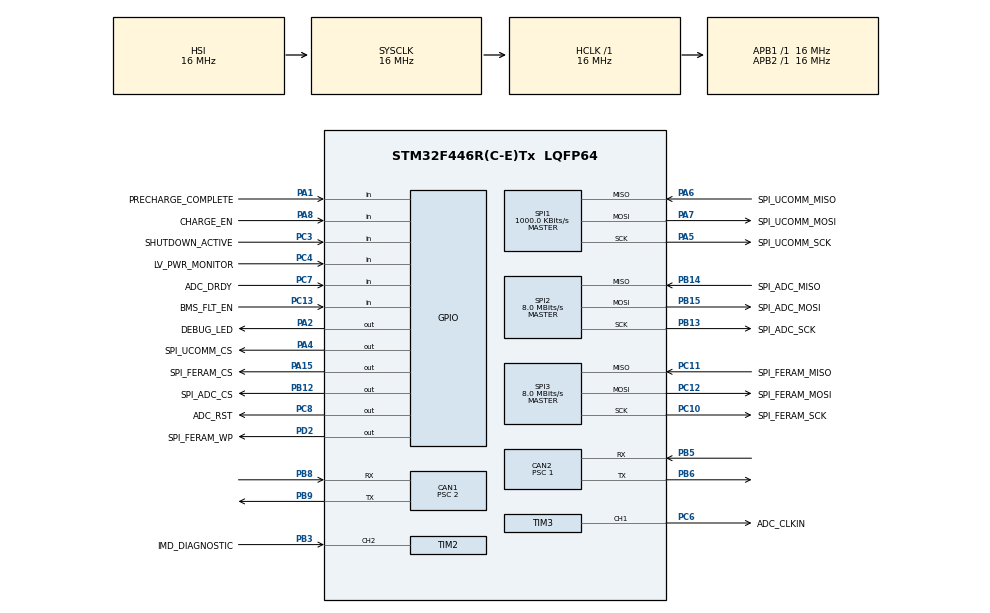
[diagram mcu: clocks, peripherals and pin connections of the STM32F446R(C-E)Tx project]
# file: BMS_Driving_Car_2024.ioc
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CAN1.ABOM=ENABLE
CAN1.BS1=CAN_BS1_13TQ
CAN1.BS2=CAN_BS2_2TQ
CAN1.CalculateBaudRate=500000
CAN1.CalculateTimeBit=2000
CAN1.CalculateTimeQuantum=125.0
CAN1.Prescaler=2
CAN2.ABOM=ENABLE
CAN2.BS1=CAN_BS1_13TQ
CAN2.BS2=CAN_BS2_2TQ
CAN2.CalculateBaudRate=1000000
CAN2.CalculateTimeBit=1000
CAN2.CalculateTimeQuantum=62.5
CAN2.Prescaler=1
Mcu.Family=STM32F4
Mcu.Name=STM32F446R(C-E)Tx
Mcu.Package=LQFP64
NVIC.PriorityGroup=NVIC_PRIORITYGROUP_4
PA1.GPIO_Label=PRECHARGE_COMPLETE
PA1.Signal=GPIO_Input
PA13.GPIO_Label=SWDIO_TC
PA13.Mode=Serial_Wire
PA13.Signal=SYS_JTMS-SWDIO
PA14.GPIO_Label=SWCLK_TC
PA14.Mode=Serial_Wire
PA14.Signal=SYS_JTCK-SWCLK
PA15.GPIO_Label=SPI_FERAM_CS
PA15.Signal=GPIO_Output
PA2.GPIO_Label=DEBUG_LED
PA2.PinState=GPIO_PIN_SET
PA2.Signal=GPIO_Output
PA4.GPIO_Label=SPI_UCOMM_CS
PA4.Signal=GPIO_Output
PA5.GPIO_Label=SPI_UCOMM_SCK
PA5.Mode=Full_Duplex_Master
PA5.Signal=SPI1_SCK
PA6.GPIO_Label=SPI_UCOMM_MISO
PA6.Mode=Full_Duplex_Master
PA6.Signal=SPI1_MISO
PA7.GPIO_Label=SPI_UCOMM_MOSI
PA7.Mode=Full_Duplex_Master
PA7.Signal=SPI1_MOSI
PA8.GPIO_Label=CHARGE_EN
PA8.Signal=GPIO_Input
PB12.GPIO_Label=SPI_ADC_CS
PB12.Signal=GPIO_Output
PB13.GPIO_Label=SPI_ADC_SCK
PB13.Mode=Full_Duplex_Master
PB13.Signal=SPI2_SCK
PB14.GPIO_Label=SPI_ADC_MISO
PB14.Mode=Full_Duplex_Master
PB14.Signal=SPI2_MISO
PB15.GPIO_Label=SPI_ADC_MOSI
PB15.Mode=Full_Duplex_Master
PB15.Signal=SPI2_MOSI
PB3.GPIO_Label=IMD_DIAGNOSTIC
PB3.Signal=S_TIM2_CH2
PB5.Mode=CAN_Activate
PB5.Signal=CAN2_RX
PB6.Mode=CAN_Activate
PB6.Signal=CAN2_TX
PB8.Mode=CAN_Activate
PB8.Signal=CAN1_RX
PB9.Mode=CAN_Activate
PB9.Signal=CAN1_TX
PC10.GPIO_Label=SPI_FERAM_SCK
PC10.Mode=Full_Duplex_Master
PC10.Signal=SPI3_SCK
PC11.GPIO_Label=SPI_FERAM_MISO
PC11.Mode=Full_Duplex_Master
PC11.Signal=SPI3_MISO
PC12.GPIO_Label=SPI_FERAM_MOSI
PC12.Mode=Full_Duplex_Master
PC12.Signal=SPI3_MOSI
PC13.GPIO_Label=BMS_FLT_EN
PC13.Signal=GPIO_Input
PC14-OSC32_IN.GPIO_Label=LSE_IN
PC14-OSC32_IN.Mode=LSE-External-Oscillator
PC14-OSC32_IN.Signal=RCC_OSC32_IN
PC15-OSC32_OUT.GPIO_Label=LSE_OUT
PC15-OSC32_OUT.Mode=LSE-External-Oscillator
PC15-OSC32_OUT.Signal=RCC_OSC32_OUT
PC3.GPIO_Label=SHUTDOWN_ACTIVE
PC3.GPIO_PuPd=GPIO_NOPULL
PC3.Signal=GPIO_Input
PC4.GPIO_Label=LV_PWR_MONITOR
PC4.Signal=GPIO_Input
PC6.GPIO_Label=ADC_CLKIN
PC6.Signal=S_TIM3_CH1
PC7.GPIO_Label=ADC_DRDY
PC7.Signal=GPIO_Input
PC8.GPIO_Label=ADC_RST
PC8.PinState=GPIO_PIN_SET
PC8.Signal=GPIO_Output
PD2.GPIO_Label=SPI_FERAM_WP
PD2.Signal=GPIO_Output
PH0-OSC_IN.GPIO_Label=HSE_IN
PH0-OSC_IN.Mode=HSE-External-Oscillator
PH0-OSC_IN.Signal=RCC_OSC_IN
PH1-OSC_OUT.GPIO_Label=HSE_OUT
PH1-OSC_OUT.Mode=HSE-External-Oscillator
PH1-OSC_OUT.Signal=RCC_OSC_OUT
ProjectManager.HeapSize=0x200
ProjectManager.StackSize=0x400
ProjectManager.TargetToolchain=STM32CubeIDE
RCC.AHBFreq_Value=16000000
RCC.APB1Freq_Value=16000000
RCC.APB1TimFreq_Value=16000000
RCC.APB2Freq_Value=16000000
RCC.APB2TimFreq_Value=16000000
RCC.CortexFreq_Value=16000000
RCC.HCLKFreq_Value=16000000
RCC.RCC_TIM_PRescaler_Selection=RCC_TIMPRES_DESACTIVATED
RCC.SYSCLKFreq_VALUE=16000000
RCC.USBFreq_Value=96000000
RCC.VCOOutputFreq_Value=192000000
SH.S_TIM2_CH2.0=TIM2_CH2,Input_Capture2_from_TI2
SH.S_TIM3_CH1.0=TIM3_CH1,PWM Generation1 CH1
SPI1.BaudRatePrescaler=SPI_BAUDRATEPRESCALER_16
SPI1.CalculateBaudRate=1000.0 KBits/s
SPI1.Direction=SPI_DIRECTION_2LINES
SPI1.Mode=SPI_MODE_MASTER
SPI1.VirtualType=VM_MASTER
SPI2.BaudRatePrescaler=SPI_BAUDRATEPRESCALER_2
SPI2.CalculateBaudRate=8.0 MBits/s
SPI2.DataSize=SPI_DATASIZE_8BIT
SPI2.Direction=SPI_DIRECTION_2LINES
SPI2.Mode=SPI_MODE_MASTER
SPI2.VirtualType=VM_MASTER
SPI3.BaudRatePrescaler=SPI_BAUDRATEPRESCALER_2
SPI3.CalculateBaudRate=8.0 MBits/s
SPI3.Direction=SPI_DIRECTION_2LINES
SPI3.Mode=SPI_MODE_MASTER
SPI3.VirtualType=VM_MASTER
TIM2.Channel-Input_Capture2_from_TI2=TIM_CHANNEL_2
TIM3.Channel-PWM\ Generation1\ CH1=TIM_CHANNEL_1
VP_TIM3_VS_ClockSourceINT.Mode=Internal
board=custom

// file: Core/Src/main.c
/* USER CODE BEGIN Header */
/**
  ******************************************************************************
  * @file           : main.c
  * @brief          : Main program body
  ******************************************************************************
  * @attention
  *
  * Copyright (c) 2024 STMicroelectronics.
  * All rights reserved.
  *
  * This software is licensed under terms that can be found in the LICENSE file
  * in the root directory of this software component.
  * If no LICENSE file comes with this software, it is provided AS-IS.
  *
  ******************************************************************************
  */
/* USER CODE END Header */
#include "main.h"

/* USER CODE BEGIN Includes */
#include <stdbool.h>
#include "BMSconfig.h"
#include "Fault.h"
// #include "LTC2949.h"
#include "LTC6811.h"
#include "PackCalculations.h"
#include "SPI.h"

/* USER CODE END Includes */

/* USER CODE BEGIN PD */
#define POLLING_ID 0x4E0
#define CELLVAL_ID 0x780
#define BMSSTAT_ID 0x781
#define BMSVINF_ID 0x782
#define BMSTINF_ID 0x783
#define PACKSTAT_ID 0x180
#define CHARGER_OUT_ID 0x405
#define CELL_VOLTAGE_FAULTS 0x785
#define CELL_TEMP_FAULTS 0x786
#define CAN_RX_MAILBOX_SIZE 3

#define CHARGER_IN_ID 0x1806E5F4	// charger CAN ID is 0x1806E5F4
#define CHARGER_INFO_ID 0x700
#define CONSTANT_CAN_ENABLE 1

#define BALANCE_EN  0

// STM manual balancing
#define THRESHOLD_BALANCE_EN 0
#define DISCHARGE_THRESHOLD 65535 // well above cell max voltage LOOK AT ACTUAL FUNCTION CALL FOR THRESHOLD SETTING

// CAN Manual Balancing
#define MANUAL_BALANCING_ID 0x4E1

/* USER CODE END PD */

CAN_HandleTypeDef hcan1;
CAN_HandleTypeDef hcan2;

SPI_HandleTypeDef hspi1;
SPI_HandleTypeDef hspi2;
SPI_HandleTypeDef hspi3;

TIM_HandleTypeDef htim2;
TIM_HandleTypeDef htim3;

/* USER CODE BEGIN PV */
SPI_HandleTypeDef *ltc_spi = &hspi1;

CAN_TxHeaderTypeDef TxHeader;
CAN_RxHeaderTypeDef RxHeader;
uint8_t TxData[8];
uint8_t RxData[8] = {0, 0, 0, 0, 0, 0, 0, 0};
uint32_t TxMailbox;
const uint32_t CAN_TX_TIMEOUT = 1 << 20; // Needs to be used along with microsecond delay

CAN_TxHeaderTypeDef ChargerTxHeader;
uint8_t ChargerTxData[8];
uint8_t charge_rate = 2;
uint8_t global_error_count = 0;
uint8_t balance_counter = 0;
uint8_t charging_counter = 0;

bool bmsFault = 0;
bool CHARGE_EN = 0;

uint16_t *buff_2949;
bool ret_2949;

CellData bmsData[144];
uint8_t BMS_STATUS[6];
bool discharge[12][12];
bool full_discharge[12][12];

manual_balancing_t manual_balancing_config;

/* USER CODE END PV */

void SystemClock_Config(void);
static void MX_GPIO_Init(void);
static void MX_CAN1_Init(void);
static void MX_SPI1_Init(void);
static void MX_SPI2_Init(void);
static void MX_SPI3_Init(void);
static void MX_TIM2_Init(void);
static void MX_TIM3_Init(void);
static void MX_CAN2_Init(void);
/* USER CODE BEGIN PFP */
static void setChargerTxData(BMSConfigStructTypedef cfg);
static void TransmitCanMessage(const CAN_TxHeaderTypeDef *txHeader, uint8_t const *msgData);
static void CELLVAL_message(CellData const bmsData[144]);
static void BMSSTAT_message(uint8_t const bmsStatus[6]);
static void BMSVINF_message(BMS_critical_info_t const *bms);
static void BMSTINF_message(BMS_critical_info_t const *bms, bool bmsFault);
// void PACKSTAT_message(BMSConfigStructTypedef cfg, BMS_critical_info_t bms, uint8_t bmsData[144][6]); // old method
static void PACKSTAT_message(BMS_critical_info_t const *bms); // draft :D

// Manual Charging/Balancing Functions
void CHARGER_message();
void resetChargerVariables();
void getLaptopCanMessage();
bool pollingFlag = false;
/* USER CODE END PFP */

int main(void)
{

  /* MCU Configuration--------------------------------------------------------*/

  /* Reset of all peripherals, Initializes the Flash interface and the Systick. */
  HAL_Init();

  /* USER CODE BEGIN Init */
    BMSConfigStructTypedef BMSConfig;
    BMS_critical_info_t BMSCriticalInfo;

  /* USER CODE END Init */

  /* Configure the system clock */
  SystemClock_Config();

  /* Initialize all configured peripherals */
  MX_GPIO_Init();
  MX_CAN1_Init();
  MX_SPI1_Init();
  MX_SPI2_Init();
  MX_SPI3_Init();
  MX_TIM2_Init();
  MX_TIM3_Init();
  MX_CAN2_Init();
  /* USER CODE BEGIN 2 */
    initPECTable();
    loadConfig(&BMSConfig);
    init_BMS_info(&BMSCriticalInfo);
    resetChargerVariables();

    HAL_CAN_Start(&hcan1);

  /* USER CODE END 2 */

  /* Infinite loop */
    while (1)
    {

    /* USER CODE BEGIN 3 */
    	HAL_TIM_PWM_Start(&htim2, TIM_CHANNEL_2);
    	TIM2 -> CCR2 = 50;

        writeConfigAll(&BMSConfig);

        /** FUNCTION CALL OVERVIEW
         * First: Call read6811 -> Voltages, Temps on 6811
         * Second: Check for Faults
         * Third: Call balancing algorithm
         * Fourth : Remaining CAN messages
         * Last: :3
         */
        readAllCellVoltages(bmsData);
        setCriticalVoltages(&BMSCriticalInfo, bmsData);

        // Read all Temps from LTC6811, store them in 144x6 array,
        // set the critical info struct, then send temp info over CAN
        readAllCellTemps(bmsData);

        setCriticalTemps(&BMSCriticalInfo, bmsData);

        BMSConfig.UV_threshold = (CHARGE_EN == 0)
            ? BMSConfig.LUV_threshold : BMSConfig.HUV_threshold;

        /* DO THIS WHEN TESTING BMS FAULTS*/
        //*NOTE* : need to figure out which pin is the BMS fault pin
         bool bmsFault = FAULT_check(&BMSCriticalInfo, BMS_STATUS);
         if (bmsFault == false) {
        	 global_error_count = 0;
        	 HAL_GPIO_WritePin(BMS_FLT_EN_GPIO_Port, BMS_FLT_EN_Pin,
                     GPIO_PIN_RESET);
         }
         else {
         	global_error_count++;
         	if (global_error_count == 5) {
         		global_error_count = 0;
         		HAL_GPIO_WritePin(BMS_FLT_EN_GPIO_Port, BMS_FLT_EN_Pin,
                        GPIO_PIN_SET);
             }
         }

        // Finally, balance if charging and toggled
        // TODO: make no balance when bms fault
        if(CHARGE_EN == 0 && BALANCE_EN == 1) {
            if(charge_rate != 0) {
                balance(&BMSConfig, &BMSCriticalInfo, bmsData, discharge,
                        full_discharge, balance_counter, &charge_rate);

                if(balance_counter == 12) {
                    balance_counter = 0;
                }
            }
            setChargerTxData(BMSConfig);

            if(charge_rate != 0) {
                dischargeCellGroups(&BMSConfig, discharge);
                HAL_Delay(BMSConfig.dischargeTime);
            } else {
                // checkDischarge(BMSConfig, full_discharge, bmsData);
                // not anywhere in past code??? WTF
                dischargeCellGroups(&BMSConfig, full_discharge);
                HAL_Delay(BMSConfig.dischargeTime);
            }
        }

        // poll for CAN1 Message from Laptop
        if (HAL_CAN_GetRxFifoFillLevel(&hcan1, CAN_RX_FIFO0) > 0) {
        	getLaptopCanMessage();

            int messagesDiscarded = 0;
			// Clear the receive FIFO0 by reading and discarding all messages
			while (HAL_CAN_GetRxFifoFillLevel(&hcan1, CAN_RX_FIFO0) > 0
                    || messagesDiscarded >= CAN_RX_MAILBOX_SIZE)
			{
				// Retrieve and discard the message
				HAL_CAN_GetRxMessage(&hcan1, CAN_RX_FIFO0, &RxHeader, RxData);
                messagesDiscarded++;
			}
    	}

        // Discharge cells if charge message is valid AND discharge is enabled AND there is no BMS fault
        if((manual_balancing_config.valid_charge_message == true) &&
			(manual_balancing_config.discharge_balance_en == true) &&
			(bmsFault == false)) {

            thresholdBalance(&BMSConfig, &BMSCriticalInfo, bmsData, discharge, manual_balancing_config.discharge_threshold_voltage, manual_balancing_config.num_cells_discharged_per_secondary);

//            setChargerTxData(BMSConfig); // this is unsed for now
            dischargeCellGroups(&BMSConfig, discharge);
            HAL_Delay(BMSConfig.dischargeTime);

            dischargeCellGroups(&BMSConfig, discharge);
            HAL_Delay(BMSConfig.dischargeTime);
        }
        else {
        	thresholdBalance(&BMSConfig, &BMSCriticalInfo, bmsData, discharge, 43000, 0);	// default to an "off" state, cells should never go this high
        }

        // send CAN messages to charger
        // if charge message from laptop is valid AND charge is enabled AND there is no BMS fault
        if ((manual_balancing_config.valid_charge_message == true) &&
			(manual_balancing_config.charge_en == true) &&
			(!bmsFault == true)) {
        	CHARGER_message();
        }

        // stop messages from being sent if no message has been sent in 2 seconds
        if (charging_counter > 4) {
        	resetChargerVariables();
        }
        charging_counter++;

        // Send remaining CAN messages
        BMSVINF_message(&BMSCriticalInfo);
        BMSTINF_message(&BMSCriticalInfo, bmsFault);
        PACKSTAT_message(&BMSCriticalInfo);
        BMSSTAT_message(BMS_STATUS);
        PACKSTAT_message(&BMSCriticalInfo);

      if (pollingFlag || CONSTANT_CAN_ENABLE){
        CELLVAL_message(bmsData);
        pollingFlag = false;
      }
    }

  /* USER CODE END 3 */
}

void SystemClock_Config(void)
{
  RCC_OscInitTypeDef RCC_OscInitStruct = {0};
  RCC_ClkInitTypeDef RCC_ClkInitStruct = {0};

  /** Configure the main internal regulator output voltage
  */
  __HAL_RCC_PWR_CLK_ENABLE();
  __HAL_PWR_VOLTAGESCALING_CONFIG(PWR_REGULATOR_VOLTAGE_SCALE3);

  /** Initializes the RCC Oscillators according to the specified parameters
  * in the RCC_OscInitTypeDef structure.
  */
  RCC_OscInitStruct.OscillatorType = RCC_OSCILLATORTYPE_HSI;
  RCC_OscInitStruct.HSIState = RCC_HSI_ON;
  RCC_OscInitStruct.HSICalibrationValue = RCC_HSICALIBRATION_DEFAULT;
  RCC_OscInitStruct.PLL.PLLState = RCC_PLL_NONE;
  if (HAL_RCC_OscConfig(&RCC_OscInitStruct) != HAL_OK)
  {
    Error_Handler();
  }

  /** Initializes the CPU, AHB and APB buses clocks
  */
  RCC_ClkInitStruct.ClockType = RCC_CLOCKTYPE_HCLK|RCC_CLOCKTYPE_SYSCLK
                              |RCC_CLOCKTYPE_PCLK1|RCC_CLOCKTYPE_PCLK2;
  RCC_ClkInitStruct.SYSCLKSource = RCC_SYSCLKSOURCE_HSI;
  RCC_ClkInitStruct.AHBCLKDivider = RCC_SYSCLK_DIV1;
  RCC_ClkInitStruct.APB1CLKDivider = RCC_HCLK_DIV1;
  RCC_ClkInitStruct.APB2CLKDivider = RCC_HCLK_DIV1;

  if (HAL_RCC_ClockConfig(&RCC_ClkInitStruct, FLASH_LATENCY_0) != HAL_OK)
  {
    Error_Handler();
  }
}

static void MX_CAN1_Init(void)
{

  hcan1.Instance = CAN1;
  hcan1.Init.Prescaler = 16;
  hcan1.Init.Mode = CAN_MODE_NORMAL;
  hcan1.Init.SyncJumpWidth = CAN_SJW_1TQ;
  hcan1.Init.TimeSeg1 = CAN_BS1_1TQ;
  hcan1.Init.TimeSeg2 = CAN_BS2_1TQ;
  hcan1.Init.TimeTriggeredMode = DISABLE;
  hcan1.Init.AutoBusOff = DISABLE;
  hcan1.Init.AutoWakeUp = DISABLE;
  hcan1.Init.AutoRetransmission = DISABLE;
  hcan1.Init.ReceiveFifoLocked = DISABLE;
  hcan1.Init.TransmitFifoPriority = DISABLE;
  if (HAL_CAN_Init(&hcan1) != HAL_OK)
  {
    Error_Handler();
  }
  /* USER CODE BEGIN CAN1_Init 2 */

	CAN_FilterTypeDef  sFilterConfig;
	sFilterConfig.FilterBank = 0;
	sFilterConfig.FilterMode = CAN_FILTERMODE_IDMASK;
	sFilterConfig.FilterScale = CAN_FILTERSCALE_32BIT;
	sFilterConfig.FilterIdHigh = 0x4E1 << 5;  // 0x4E1 shifted left by 5 bits
	sFilterConfig.FilterIdLow = 0x0000;
	sFilterConfig.FilterMaskIdHigh = 0xFFE0;
	sFilterConfig.FilterMaskIdLow = 0x0000;
	sFilterConfig.FilterFIFOAssignment = CAN_FILTER_FIFO0;
	sFilterConfig.FilterActivation = ENABLE;
	sFilterConfig.SlaveStartFilterBank = 14;

	if (HAL_CAN_ConfigFilter(&hcan1, &sFilterConfig) != HAL_OK)
	{
	  /* Filter configuration Error */
	  Error_Handler();
	}

  if (HAL_CAN_Start(&hcan1) != HAL_OK)
  {
	/* Start Error */
	Error_Handler();
  }

  // This ties the interupt to the rx_fifo0 msg bufer
//  if (HAL_CAN_ActivateNotification(&hcan1, CAN_IT_RX_FIFO0_MSG_PENDING) != HAL_OK)
//   {
//     Error_Handler();
//   }
  /* USER CODE END CAN1_Init 2 */

}

static void MX_CAN2_Init(void)
{

  hcan2.Instance = CAN2;
  hcan2.Init.Prescaler = 16;
  hcan2.Init.Mode = CAN_MODE_NORMAL;
  hcan2.Init.SyncJumpWidth = CAN_SJW_1TQ;
  hcan2.Init.TimeSeg1 = CAN_BS1_1TQ;
  hcan2.Init.TimeSeg2 = CAN_BS2_1TQ;
  hcan2.Init.TimeTriggeredMode = DISABLE;
  hcan2.Init.AutoBusOff = DISABLE;
  hcan2.Init.AutoWakeUp = DISABLE;
  hcan2.Init.AutoRetransmission = DISABLE;
  hcan2.Init.ReceiveFifoLocked = DISABLE;
  hcan2.Init.TransmitFifoPriority = DISABLE;
  if (HAL_CAN_Init(&hcan2) != HAL_OK)
  {
    Error_Handler();
  }

}

static void MX_SPI1_Init(void)
{

  /* SPI1 parameter configuration*/
  hspi1.Instance = SPI1;
  hspi1.Init.Mode = SPI_MODE_MASTER;
  hspi1.Init.Direction = SPI_DIRECTION_2LINES;
  hspi1.Init.DataSize = SPI_DATASIZE_8BIT;
  hspi1.Init.CLKPolarity = SPI_POLARITY_LOW;
  hspi1.Init.CLKPhase = SPI_PHASE_1EDGE;
  hspi1.Init.NSS = SPI_NSS_SOFT;
  hspi1.Init.BaudRatePrescaler = SPI_BAUDRATEPRESCALER_2;
  hspi1.Init.FirstBit = SPI_FIRSTBIT_MSB;
  hspi1.Init.TIMode = SPI_TIMODE_DISABLE;
  hspi1.Init.CRCCalculation = SPI_CRCCALCULATION_DISABLE;
  hspi1.Init.CRCPolynomial = 10;
  if (HAL_SPI_Init(&hspi1) != HAL_OK)
  {
    Error_Handler();
  }

}

static void MX_SPI2_Init(void)
{

  /* SPI2 parameter configuration*/
  hspi2.Instance = SPI2;
  hspi2.Init.Mode = SPI_MODE_MASTER;
  hspi2.Init.Direction = SPI_DIRECTION_2LINES;
  hspi2.Init.DataSize = SPI_DATASIZE_8BIT;
  hspi2.Init.CLKPolarity = SPI_POLARITY_LOW;
  hspi2.Init.CLKPhase = SPI_PHASE_1EDGE;
  hspi2.Init.NSS = SPI_NSS_SOFT;
  hspi2.Init.BaudRatePrescaler = SPI_BAUDRATEPRESCALER_2;
  hspi2.Init.FirstBit = SPI_FIRSTBIT_MSB;
  hspi2.Init.TIMode = SPI_TIMODE_DISABLE;
  hspi2.Init.CRCCalculation = SPI_CRCCALCULATION_DISABLE;
  hspi2.Init.CRCPolynomial = 10;
  if (HAL_SPI_Init(&hspi2) != HAL_OK)
  {
    Error_Handler();
  }

}

static void MX_SPI3_Init(void)
{

  /* SPI3 parameter configuration*/
  hspi3.Instance = SPI3;
  hspi3.Init.Mode = SPI_MODE_MASTER;
  hspi3.Init.Direction = SPI_DIRECTION_2LINES;
  hspi3.Init.DataSize = SPI_DATASIZE_8BIT;
  hspi3.Init.CLKPolarity = SPI_POLARITY_LOW;
  hspi3.Init.CLKPhase = SPI_PHASE_1EDGE;
  hspi3.Init.NSS = SPI_NSS_SOFT;
  hspi3.Init.BaudRatePrescaler = SPI_BAUDRATEPRESCALER_2;
  hspi3.Init.FirstBit = SPI_FIRSTBIT_MSB;
  hspi3.Init.TIMode = SPI_TIMODE_DISABLE;
  hspi3.Init.CRCCalculation = SPI_CRCCALCULATION_DISABLE;
  hspi3.Init.CRCPolynomial = 10;
  if (HAL_SPI_Init(&hspi3) != HAL_OK)
  {
    Error_Handler();
  }

}

static void MX_TIM2_Init(void)
{

  TIM_MasterConfigTypeDef sMasterConfig = {0};
  TIM_IC_InitTypeDef sConfigIC = {0};

  htim2.Instance = TIM2;
  htim2.Init.Prescaler = 0;
  htim2.Init.CounterMode = TIM_COUNTERMODE_UP;
  htim2.Init.Period = 4294967295;
  htim2.Init.ClockDivision = TIM_CLOCKDIVISION_DIV1;
  htim2.Init.AutoReloadPreload = TIM_AUTORELOAD_PRELOAD_DISABLE;
  if (HAL_TIM_IC_Init(&htim2) != HAL_OK)
  {
    Error_Handler();
  }
  sMasterConfig.MasterOutputTrigger = TIM_TRGO_RESET;
  sMasterConfig.MasterSlaveMode = TIM_MASTERSLAVEMODE_DISABLE;
  if (HAL_TIMEx_MasterConfigSynchronization(&htim2, &sMasterConfig) != HAL_OK)
  {
    Error_Handler();
  }
  sConfigIC.ICPolarity = TIM_INPUTCHANNELPOLARITY_RISING;
  sConfigIC.ICSelection = TIM_ICSELECTION_DIRECTTI;
  sConfigIC.ICPrescaler = TIM_ICPSC_DIV1;
  sConfigIC.ICFilter = 0;
  if (HAL_TIM_IC_ConfigChannel(&htim2, &sConfigIC, TIM_CHANNEL_2) != HAL_OK)
  {
    Error_Handler();
  }

}

static void MX_TIM3_Init(void)
{

  TIM_ClockConfigTypeDef sClockSourceConfig = {0};
  TIM_MasterConfigTypeDef sMasterConfig = {0};
  TIM_OC_InitTypeDef sConfigOC = {0};

  htim3.Instance = TIM3;
  htim3.Init.Prescaler = 0;
  htim3.Init.CounterMode = TIM_COUNTERMODE_UP;
  htim3.Init.Period = 65535;
  htim3.Init.ClockDivision = TIM_CLOCKDIVISION_DIV1;
  htim3.Init.AutoReloadPreload = TIM_AUTORELOAD_PRELOAD_DISABLE;
  if (HAL_TIM_Base_Init(&htim3) != HAL_OK)
  {
    Error_Handler();
  }
  sClockSourceConfig.ClockSource = TIM_CLOCKSOURCE_INTERNAL;
  if (HAL_TIM_ConfigClockSource(&htim3, &sClockSourceConfig) != HAL_OK)
  {
    Error_Handler();
  }
  if (HAL_TIM_PWM_Init(&htim3) != HAL_OK)
  {
    Error_Handler();
  }
  sMasterConfig.MasterOutputTrigger = TIM_TRGO_RESET;
  sMasterConfig.MasterSlaveMode = TIM_MASTERSLAVEMODE_DISABLE;
  if (HAL_TIMEx_MasterConfigSynchronization(&htim3, &sMasterConfig) != HAL_OK)
  {
    Error_Handler();
  }
  sConfigOC.OCMode = TIM_OCMODE_PWM1;
  sConfigOC.Pulse = 0;
  sConfigOC.OCPolarity = TIM_OCPOLARITY_HIGH;
  sConfigOC.OCFastMode = TIM_OCFAST_DISABLE;
  if (HAL_TIM_PWM_ConfigChannel(&htim3, &sConfigOC, TIM_CHANNEL_1) != HAL_OK)
  {
    Error_Handler();
  }
  HAL_TIM_MspPostInit(&htim3);

}

static void MX_GPIO_Init(void)
{
  GPIO_InitTypeDef GPIO_InitStruct = {0};

  /* GPIO Ports Clock Enable */
  __HAL_RCC_GPIOC_CLK_ENABLE();
  __HAL_RCC_GPIOH_CLK_ENABLE();
  __HAL_RCC_GPIOA_CLK_ENABLE();
  __HAL_RCC_GPIOB_CLK_ENABLE();
  __HAL_RCC_GPIOD_CLK_ENABLE();

  /*Configure GPIO pin Output Level */
  HAL_GPIO_WritePin(GPIOA, SPI_UCOMM_CS_Pin|SPI_FERAM_CS_Pin, GPIO_PIN_RESET);

  /*Configure GPIO pin Output Level */
  HAL_GPIO_WritePin(SPI_ADC_CS_GPIO_Port, SPI_ADC_CS_Pin, GPIO_PIN_RESET);

  /*Configure GPIO pin Output Level */
  HAL_GPIO_WritePin(SPI_FERAM_WP_GPIO_Port, SPI_FERAM_WP_Pin, GPIO_PIN_RESET);

  /*Configure GPIO pins : BMS_FLT_EN_Pin SHUTDOWN_ACTIVE_Pin LV_PWR_MONITOR_Pin ADC_DRDY_Pin */
  GPIO_InitStruct.Pin = BMS_FLT_EN_Pin|SHUTDOWN_ACTIVE_Pin|LV_PWR_MONITOR_Pin|ADC_DRDY_Pin;
  GPIO_InitStruct.Mode = GPIO_MODE_INPUT;
  GPIO_InitStruct.Pull = GPIO_NOPULL;
  HAL_GPIO_Init(GPIOC, &GPIO_InitStruct);

  /*Configure GPIO pins : PRECHARGE_COMPLETE_Pin CHARGE_EN_Pin */
  GPIO_InitStruct.Pin = PRECHARGE_COMPLETE_Pin|CHARGE_EN_Pin;
  GPIO_InitStruct.Mode = GPIO_MODE_INPUT;
  GPIO_InitStruct.Pull = GPIO_NOPULL;
  HAL_GPIO_Init(GPIOA, &GPIO_InitStruct);

  /*Configure GPIO pins : SPI_UCOMM_CS_Pin SPI_FERAM_CS_Pin */
  GPIO_InitStruct.Pin = SPI_UCOMM_CS_Pin|SPI_FERAM_CS_Pin;
  GPIO_InitStruct.Mode = GPIO_MODE_OUTPUT_PP;
  GPIO_InitStruct.Pull = GPIO_NOPULL;
  GPIO_InitStruct.Speed = GPIO_SPEED_FREQ_LOW;
  HAL_GPIO_Init(GPIOA, &GPIO_InitStruct);

  /*Configure GPIO pin : SPI_ADC_CS_Pin */
  GPIO_InitStruct.Pin = SPI_ADC_CS_Pin;
  GPIO_InitStruct.Mode = GPIO_MODE_OUTPUT_PP;
  GPIO_InitStruct.Pull = GPIO_NOPULL;
  GPIO_InitStruct.Speed = GPIO_SPEED_FREQ_LOW;
  HAL_GPIO_Init(SPI_ADC_CS_GPIO_Port, &GPIO_InitStruct);

  /*Configure GPIO pin : SPI_FERAM_WP_Pin */
  GPIO_InitStruct.Pin = SPI_FERAM_WP_Pin;
  GPIO_InitStruct.Mode = GPIO_MODE_OUTPUT_PP;
  GPIO_InitStruct.Pull = GPIO_NOPULL;
  GPIO_InitStruct.Speed = GPIO_SPEED_FREQ_LOW;
  HAL_GPIO_Init(SPI_FERAM_WP_GPIO_Port, &GPIO_InitStruct);

}

/* USER CODE BEGIN 4 */
static void TransmitCanMessage(const CAN_TxHeaderTypeDef *txHeader, uint8_t const *msgData) {
    for (uint32_t i = 0; i < CAN_TX_TIMEOUT; i++)  {
        volatile uint32_t txMailboxFreeLevel = HAL_CAN_GetTxMailboxesFreeLevel(&hcan1);
        if (txMailboxFreeLevel > 0) {
            break;
        }
    }
    HAL_CAN_AddTxMessage(&hcan1, txHeader, msgData, &TxMailbox);
}

void setChargerTxData(BMSConfigStructTypedef cfg) {	// unused as of 10/15/24
    ChargerTxHeader.StdId = CHARGER_OUT_ID;
    ChargerTxHeader.DLC = 8;

    /* voltage data (hex value of desired voltage (V) times 10)*/
    ChargerTxData[0] = (uint8_t)((cfg.chargerVoltage >> 8) & 0xFF);
    ChargerTxData[1] = (uint8_t)(cfg.chargerVoltage & 0xFF);

    /* set the current data (hex value of desired current (A) times 10) */
    switch (charge_rate) {
        case 1:
            /* lower current */
            ChargerTxData[2] = (uint8_t)((cfg.lowerCurrent >> 8) & 0xFF);
            ChargerTxData[3] = (uint8_t)(cfg.lowerCurrent & 0xFF);
            break;

        case 2:
            /* normal current */
            ChargerTxData[2] = (uint8_t)((cfg.normalCurrent >> 8) & 0xFF);
            ChargerTxData[3] = (uint8_t)(cfg.normalCurrent & 0xFF);
            break;

        default:
            /* no current */
            ChargerTxData[2] = 0x00;
            ChargerTxData[3] = 0x00;
    }

    /* these data bytes are not used */
    ChargerTxData[4] = 0x00;
    ChargerTxData[5] = 0x00;
    ChargerTxData[6] = 0x00;
    ChargerTxData[7] = 0x00;

    TransmitCanMessage(&ChargerTxHeader, ChargerTxData);
}

static void CELLVAL_message(CellData const bmsData[144]) {
    // canCounter1++;
    TxHeader.StdId = CELLVAL_ID;
    TxHeader.DLC = 6;

    //Send dummy CAN message to wake up bus

    uint8_t CELLVAL_DATA[6];
    CELLVAL_DATA[0] = 0; // Should not  be a CELL_VAL message. Let's add a wake ID instead
    CELLVAL_DATA[1] = 0;
    CELLVAL_DATA[2] = 0;
    CELLVAL_DATA[3] = 0;
    CELLVAL_DATA[4] = 0;
    CELLVAL_DATA[5] = 0;

    TransmitCanMessage(&TxHeader, CELLVAL_DATA);

    //replace with memcopy?
    for (uint8_t cell = 0; cell < NUM_CELLS; cell++) {
        CELLVAL_DATA[0] = cell;
        CELLVAL_DATA[1] = bmsData[cell].fault;
        CELLVAL_DATA[2] = (uint8_t) (bmsData[cell].voltage >> 8);
        CELLVAL_DATA[3] = (uint8_t)(bmsData[cell].voltage & 0xFF);
        CELLVAL_DATA[4] = (uint8_t) (bmsData[cell].temperature >> 8);
        CELLVAL_DATA[5] = (uint8_t)(bmsData[cell].temperature & 0xFF);

        TransmitCanMessage(&TxHeader, CELLVAL_DATA);
    }
}

static void BMSSTAT_message(uint8_t const bmsStatus[6]) {
    // canCounter2++;

    TxHeader.StdId = BMSSTAT_ID;
    TxHeader.DLC = 6;

    TransmitCanMessage(&TxHeader, bmsStatus);
}

static void BMSVINF_message(BMS_critical_info_t const *bms) {
    const uint16_t minV = bms->curr_min_voltage;
    const uint8_t minCell = bms->min_volt_cell;
    const uint16_t maxV = bms->curr_max_voltage;
    const uint8_t maxCell = bms->max_volt_cell;

    TxHeader.StdId = BMSVINF_ID;
    TxHeader.DLC = 8;
    uint8_t BMSVINF_DATA[8];

    BMSVINF_DATA[0] = (uint8_t)((maxV >> 8) & 0xFF);
    BMSVINF_DATA[1] = (uint8_t)(maxV & 0xFF);
    BMSVINF_DATA[2] = maxCell;
    BMSVINF_DATA[3] = (uint8_t)((minV >> 8) & 0xFF);
    BMSVINF_DATA[4] = (uint8_t)(minV & 0xFF);
    BMSVINF_DATA[5] = minCell;
    // BMSVINF_DATA[6] = (uint8_t)((averageV >> 8) & 0xFF);
    // BMSVINF_DATA[7] = (uint8_t)(averageV & 0xFF);

    TransmitCanMessage(&TxHeader, BMSVINF_DATA);
}

static void BMSTINF_message(BMS_critical_info_t const *bms, bool bmsFault) {
    const uint16_t minT = bms->curr_min_temp;
    const uint8_t minCell = bms->min_temp_cell;
    const uint16_t maxT = bms->curr_max_temp;
    const uint8_t maxCell = bms->max_temp_cell;

    // averageT = (uint16_t)(sum / (cfg.numOfICs * cfg.numOfTempPerIC)); //bug -> we only take 4 readings per board for temperatures
    // averageT = (uint16_t)(sum / (cfg.numOfICs * cfg.numOfTempPerIC));

    TxHeader.StdId = BMSTINF_ID;
    TxHeader.DLC = 8;
    uint8_t BMSTINF_DATA[8];

    BMSTINF_DATA[0] = (uint8_t)((maxT >> 8) & 0xFF);
    BMSTINF_DATA[1] = (uint8_t)(maxT & 0xFF);
    BMSTINF_DATA[2] = maxCell;
    BMSTINF_DATA[3] = (uint8_t)((minT >> 8) & 0xFF);
    BMSTINF_DATA[4] = (uint8_t)(minT & 0xFF);
    BMSTINF_DATA[5] = minCell;
    // BMSTINF_DATA[6] = (uint8_t)((averageT >> 8) & 0xFF);
    // BMSTINF_DATA[7] = (uint8_t)(averageT & 0xFF);

    TransmitCanMessage(&TxHeader, BMSTINF_DATA);

    // Insert PWM code
    if ((maxT < 17400) || bmsFault) {
        HAL_GPIO_WritePin(GPIOA, GPIO_PIN_2, GPIO_PIN_RESET);
    } else {
        HAL_GPIO_WritePin(GPIOA, GPIO_PIN_2, GPIO_PIN_SET);
        // HAL_GPIO_TogglePin(DEBUG_GPIO_Port, DEBUG_Pin);	// which PIN is this?
    }
}

static void PACKSTAT_message(BMS_critical_info_t const *bms) {
    TxHeader.StdId = PACKSTAT_ID;
    TxHeader.DLC = 6;
    uint8_t PACKSTAT_DATA[6];

    const uint16_t pack_voltage = bms->packVoltage;
    const uint16_t pack_current = bms->packCurrent;
    const uint16_t pack_power = bms->packPower;

    PACKSTAT_DATA[0] = (uint8_t)((pack_voltage >> 8) & 0xFF);
    PACKSTAT_DATA[1] = (uint8_t)(pack_voltage & 0xFF);
    PACKSTAT_DATA[2] = (uint8_t)((pack_current >> 8) & 0xFF);
    PACKSTAT_DATA[3] = (uint8_t)(pack_current & 0xFF);
    PACKSTAT_DATA[4] = (uint8_t)((pack_power >> 8) & 0xFF);
    PACKSTAT_DATA[5] = (uint8_t)(pack_power & 0xFF);

    TransmitCanMessage(&TxHeader, PACKSTAT_DATA);
}

void CHARGER_message() {
	TxHeader.StdId = 0;  // Set to 0 for extended IDs
	TxHeader.ExtId = CHARGER_IN_ID; // Set your 29-bit ID
	TxHeader.DLC = 8;				// set command length
	TxHeader.IDE = CAN_ID_EXT;       // Set to extended ID

	uint8_t CHARGER_DATA[8];

	if (manual_balancing_config.charge_en == true && manual_balancing_config.valid_charge_message == true) {
		CHARGER_DATA[0] = (uint8_t)((manual_balancing_config.charge_voltage >> 8) & 0xFF);
		CHARGER_DATA[1] = (uint8_t)(manual_balancing_config.charge_voltage & 0xFF);
		CHARGER_DATA[2] = (uint8_t)((manual_balancing_config.charge_current >> 8) & 0xFF);
		CHARGER_DATA[3] = (uint8_t)(manual_balancing_config.charge_current & 0xFF);
	}
	else {
		return;	// abort send
	}

    /* these data bytes are not used */
	CHARGER_DATA[4] = 0x00;
	CHARGER_DATA[5] = 0x00;
	CHARGER_DATA[6] = 0x00;
	CHARGER_DATA[7] = 0x00;

    TransmitCanMessage(&TxHeader, CHARGER_DATA);

    // reset to normal
	TxHeader.StdId = 0;  // Set to 0 for extended IDs
	TxHeader.ExtId = 0; // Set your 29-bit ID
	TxHeader.DLC = 8;				// set command length
	TxHeader.IDE = CAN_ID_STD;       // Set to extended ID
}

// reset all variables to default
void resetChargerVariables() {
	manual_balancing_config.charge_en = false;		// disable charge
	manual_balancing_config.charge_voltage = 6000;	// 600V
	manual_balancing_config.charge_current = 0;		// 0A

	manual_balancing_config.discharge_balance_en = false;	// disable discharge balance
	manual_balancing_config.num_cells_discharged_per_secondary = 0;	// no cells to be discharged
	manual_balancing_config.discharge_threshold_voltage = 41600;	// 4.16V

	manual_balancing_config.valid_charge_message = false;	// assume invalid message
}

void getLaptopCanMessage(){
  HAL_CAN_GetRxMessage(&hcan1, CAN_RX_FIFO0, &RxHeader, RxData);

  if (RxHeader.StdId == POLLING_ID) {
    pollingFlag = true;
  }

  switch (RxHeader.StdId) {
	  case MANUAL_BALANCING_ID: // insert laptop to charger can id here
		  manual_balancing_config.charge_en = (RxData[0] == 0xFF);
		  manual_balancing_config.charge_voltage = ((RxData[1] << 8) | (RxData[2]));
		  manual_balancing_config.charge_current = ((RxData[3] << 8) | (RxData[4]));

		  manual_balancing_config.discharge_balance_en = (RxData[5] & 0xF0) == 0xF0;
		  manual_balancing_config.num_cells_discharged_per_secondary = (RxData[5] & 0x0F);
		  manual_balancing_config.discharge_threshold_voltage = ((RxData[6] << 8) | (RxData[7]));

		  // check for validity

		  // if both charge and balance are enabled, invalid message
		  if ((manual_balancing_config.charge_en == true) && (manual_balancing_config.discharge_balance_en == true)) {
			  manual_balancing_config.valid_charge_message = false;
			  resetChargerVariables();
			  break;
		  }

		  // if charge is enabled AND if charge voltage is out of bounds [500-600][V]
		  // multiplied by 10 -> [5000 - 6000]
		  if ((manual_balancing_config.charge_en == true) && ((manual_balancing_config.charge_voltage < 5000) || (manual_balancing_config.charge_voltage > 6000))) {
			  manual_balancing_config.valid_charge_message = false;
			  resetChargerVariables();
			  break;
		  }

		  // if charge is enabled AND if charge current is out of bounds [0-10][A]
		  // multiplied by 10 -> [0 - 100]
		  if ((manual_balancing_config.charge_en == true) && (manual_balancing_config.charge_current > 100)) {
			  manual_balancing_config.valid_charge_message = false;
			  resetChargerVariables();
			  break;
		  }

		  // if cell discharge count is out of bounds
		  if ((manual_balancing_config.discharge_balance_en == true) && (manual_balancing_config.num_cells_discharged_per_secondary > 12)) {
			  manual_balancing_config.valid_charge_message = false;
			  resetChargerVariables();
			  break;
		  }

		  // if discharge is enabled AND if discharge cell threshold is out of bounds [3.2-4.2][V]
		  // multiplied by 10,000 -> [32000 - 42000]
		  if ((manual_balancing_config.discharge_balance_en == true) && ((manual_balancing_config.discharge_threshold_voltage < 32000) || (manual_balancing_config.discharge_threshold_voltage > 42000))) {
			  manual_balancing_config.valid_charge_message = false;
			  resetChargerVariables();
			  break;
		  }

		  // if all conditions passed, charge message is true
		  manual_balancing_config.valid_charge_message = true;
		  charging_counter++;
		  break;

	  default:
		  break;
  }

}

void HAL_CAN_RxFifo0MsgPendingCallback(CAN_HandleTypeDef *hcan)
{
    (void)hcan;
}

// This will not work if we aren't using ADC
/*
void PACKSTAT_message(BMSConfigStructTypedef cfg, BMS_critical_info_t bms, uint8_t bmsData[144][6]) {
    // canCounter3++;
    uint16_t channel1;
    uint16_t channel2;
    uint16_t pack_voltage;

    // +/- 20A (high res, channel 1)
    sConfig.Channel = ADC_CHANNEL_1;
    sConfig.Rank = ADC_REGULAR_RANK_1;
    sConfig.SamplingTime = ADC_SAMPLETIME_55CYCLES_5;
    HAL_ADC_ConfigChannel(&hadc1, &sConfig);

    HAL_ADC_Start(&hadc1);
    // HAL_ADCEx_Calibration_Start(&hadc1);
    HAL_ADC_PollForConversion(&hadc1, 10);
    channel1 = HAL_ADC_GetValue(&hadc1);
    HAL_ADC_Stop(&hadc1);

    // +/- 500A (full range, channel 2)
    sConfig.Channel = ADC_CHANNEL_2;
    sConfig.Rank = ADC_REGULAR_RANK_1;
    sConfig.SamplingTime = ADC_SAMPLETIME_55CYCLES_5;
    HAL_ADC_ConfigChannel(&hadc1, &sConfig);

    HAL_ADC_Start(&hadc1);
    // HAL_ADCEx_Calibration_Start(&hadc1);
    HAL_ADC_PollForConversion(&hadc1, 10);
    channel2 = HAL_ADC_GetValue(&hadc1);
    HAL_ADC_Stop(&hadc1);

    pack_voltage = (uint16_t)((bms.packVoltage / 10000) * 100);	// mV to V

    TxHeader.StdId = PACKSTAT_ID;
    TxHeader.DLC = 7;
    uint8_t PACKSTAT_DATA[7];

    PACKSTAT_DATA[0] = (uint8_t)((pack_voltage >> 8) & 0xFF);
    PACKSTAT_DATA[1] = (uint8_t)(pack_voltage & 0xFF);
    PACKSTAT_DATA[2] = (uint8_t)((channel1 >> 8) & 0xFF);
    PACKSTAT_DATA[3] = (uint8_t)(channel1 & 0xFF);
    PACKSTAT_DATA[4] = (uint8_t)((channel2 >> 8) & 0xFF);
    PACKSTAT_DATA[5] = (uint8_t)(channel2 & 0xFF);
    PACKSTAT_DATA[6] = 0x00;
    HAL_CAN_AddTxMessage(&hcan1, &TxHeader, PACKSTAT_DATA, &TxMailbox);
    // returns message with cell voltage data
}
*/

/* USER CODE END 4 */

void Error_Handler(void)
{
  __disable_irq();
  while (1)
  {
  }
}
